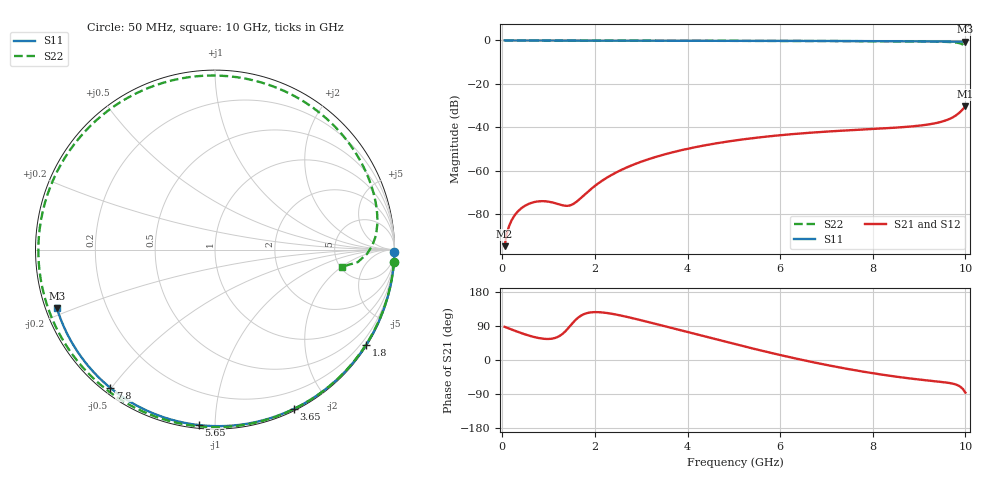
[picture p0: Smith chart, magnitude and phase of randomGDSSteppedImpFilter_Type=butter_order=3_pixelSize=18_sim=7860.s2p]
! freq	dB(S11)	phase(S11)	dB(S12)	phase(S12)
!  dB(S21)	phase(S21)	dB(S22)	phase(S22)
!S-par simulation data
#  GHz  S  DB  R 50
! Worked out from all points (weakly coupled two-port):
!   200 points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, 50 MHz to 10 GHz, reference 50 ohm
!   highest |S21| = -30.33 dB at 10 GHz (marker M1); lowest = -94.7 dB at 50 MHz (marker M2)
!   lowest |S11| = -0.5 dB at 10 GHz (marker M3), VSWR 31.90, Z = 1.62 - j8.94 ohm
!   |S11| at or under -10 dB: nowhere
!   |S22| runs from -2.9 to 0.0 dB; largest |S21 - S12| = 0
!   S11 on the Smith chart (normalised r, x): 50 MHz: open; 1.8 GHz: 0.03, -3.46; 3.65 GHz: 0.02, -1.61; 5.65 GHz: 0.02, -0.91; 7.8 GHz: 0.02, -0.50; 10 GHz: 0.03, -0.18
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0.05  -0.00 -0.9  -94.66 87.6  -94.66 87.6  -0.00 -4.0
0.25  -0.01 -4.6  -80.98 78.1  -80.98 78.1  -0.03 -19.7
0.4  -0.01 -7.3  -77.41 71.4  -77.41 71.4  -0.05 -31.2
0.6  -0.01 -10.9  -74.95 63.5  -74.95 63.5  -0.06 -46.0
0.85  -0.02 -15.4  -73.95 56.7  -73.95 56.7  -0.08 -63.4
1.4  -0.03 -25.2  -76.10 80.7  -76.10 80.7  -0.10 -96.6
1.55  -0.04 -27.9  -75.02 101.7  -75.02 101.7  -0.10 -104.5
1.75  -0.04 -31.4  -71.47 120.2  -71.47 120.2  -0.11 -114.4
1.8  -0.04 -32.3  -70.50 122.6  -70.50 122.6  -0.11 -116.7
2.55  -0.06 -45.3  -59.78 117.6  -59.78 117.6  -0.12 -147.4
3.4  -0.08 -59.6  -53.05 92.5  -53.05 92.5  -0.14 -175.3
3.65  -0.09 -63.7  -51.61 84.7  -51.61 84.7  -0.14 177.3
4.3  -0.11 -74.2  -48.55 64.3  -48.55 64.3  -0.16 159.1
5.05  -0.13 -86.1  -45.95 41.1  -45.95 41.1  -0.18 139.3
5.65  -0.16 -95.3  -44.37 23.2  -44.37 23.2  -0.21 123.7
6.7  -0.22 -111.0  -42.38 -5.6  -42.38 -5.6  -0.25 96.3
7.8  -0.30 -127.1  -40.97 -30.9  -40.97 -30.9  -0.32 66.4
8.35  -0.35 -135.2  -40.32 -41.3  -40.32 -41.3  -0.36 50.9
9.05  -0.43 -145.5  -39.09 -52.2  -39.09 -52.2  -0.46 30.6
9.6  -0.49 -153.7  -36.61 -59.6  -36.61 -59.6  -0.67 12.8
9.85  -0.52 -157.4  -33.60 -67.5  -33.60 -67.5  -1.15 1.5
10  -0.54 -159.7  -30.33 -86.1  -30.33 -86.1  -2.94 -7.7
